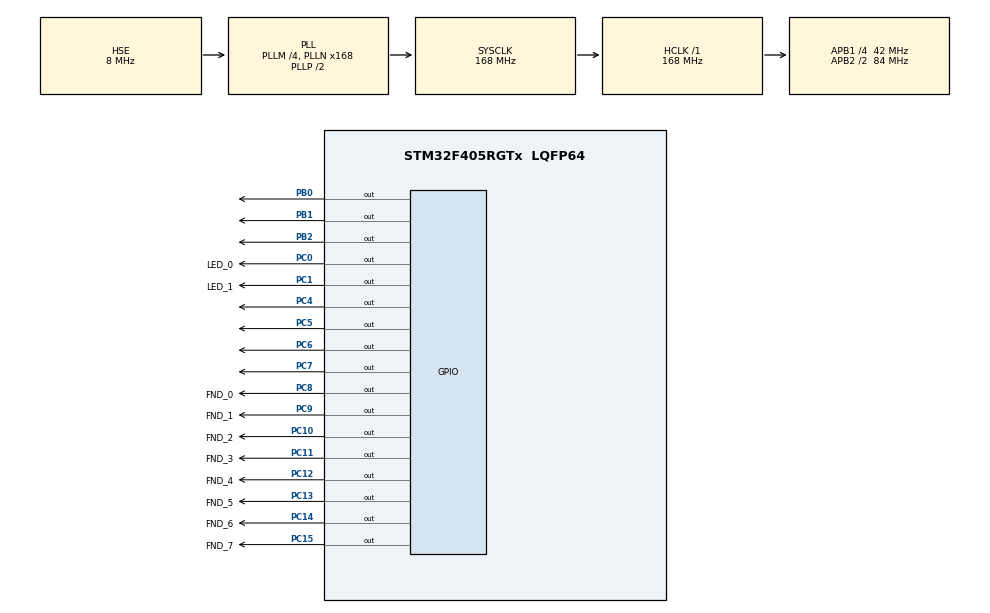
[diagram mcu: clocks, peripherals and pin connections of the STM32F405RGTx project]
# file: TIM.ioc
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Mcu.Family=STM32F4
Mcu.Name=STM32F405RGTx
Mcu.Package=LQFP64
NVIC.PriorityGroup=NVIC_PRIORITYGROUP_4
NVIC.TIM1_BRK_TIM9_IRQn=true\:0\:0\:false\:false\:true\:true\:true
NVIC.TIM1_UP_TIM10_IRQn=true\:0\:0\:false\:false\:true\:true\:true
NVIC.TIM6_DAC_IRQn=true\:0\:0\:false\:false\:true\:true\:true
PA13.Mode=Serial_Wire
PA13.Signal=SYS_JTMS-SWDIO
PA14.Mode=Serial_Wire
PA14.Signal=SYS_JTCK-SWCLK
PB0.Signal=GPIO_Output
PB1.Signal=GPIO_Output
PB2.Signal=GPIO_Output
PC0.GPIO_Label=LED_0
PC0.Signal=GPIO_Output
PC1.GPIO_Label=LED_1
PC1.Signal=GPIO_Output
PC10.GPIO_Label=FND_2
PC10.Signal=GPIO_Output
PC11.GPIO_Label=FND_3
PC11.Signal=GPIO_Output
PC12.GPIO_Label=FND_4
PC12.Signal=GPIO_Output
PC13-ANTI_TAMP.GPIO_Label=FND_5
PC13-ANTI_TAMP.Signal=GPIO_Output
PC14-OSC32_IN.GPIO_Label=FND_6
PC14-OSC32_IN.Signal=GPIO_Output
PC15-OSC32_OUT.GPIO_Label=FND_7
PC15-OSC32_OUT.Signal=GPIO_Output
PC4.Signal=GPIO_Output
PC5.Signal=GPIO_Output
PC6.Signal=GPIO_Output
PC7.Signal=GPIO_Output
PC8.GPIO_Label=FND_0
PC8.Signal=GPIO_Output
PC9.GPIO_Label=FND_1
PC9.Signal=GPIO_Output
PH0-OSC_IN.Mode=HSE-External-Oscillator
PH0-OSC_IN.Signal=RCC_OSC_IN
PH1-OSC_OUT.Mode=HSE-External-Oscillator
PH1-OSC_OUT.Signal=RCC_OSC_OUT
ProjectManager.HeapSize=0x200
ProjectManager.StackSize=0x400
ProjectManager.TargetToolchain=EWARM V8.32
RCC.48MHZClocksFreq_Value=84000000
RCC.AHBFreq_Value=168000000
RCC.APB1CLKDivider=RCC_HCLK_DIV4
RCC.APB1Freq_Value=42000000
RCC.APB1TimFreq_Value=84000000
RCC.APB2CLKDivider=RCC_HCLK_DIV2
RCC.APB2Freq_Value=84000000
RCC.APB2TimFreq_Value=168000000
RCC.CortexFreq_Value=168000000
RCC.HCLKFreq_Value=168000000
RCC.HSE_VALUE=8000000
RCC.HSI_VALUE=16000000
RCC.LSE_VALUE=32768
RCC.PLLM=4
RCC.PLLN=168
RCC.PLLSourceVirtual=RCC_PLLSOURCE_HSE
RCC.SYSCLKFreq_VALUE=168000000
RCC.SYSCLKSource=RCC_SYSCLKSOURCE_PLLCLK
RCC.VCOOutputFreq_Value=336000000
TIM10.Period=10000
TIM10.Prescaler=16800
TIM6.Period=10000
TIM6.Prescaler=8400
TIM9.Period=5000
TIM9.Prescaler=16800
VP_TIM10_VS_ClockSourceINT.Mode=Enable_Timer
VP_TIM6_VS_ClockSourceINT.Mode=Enable_Timer
VP_TIM9_VS_ClockSourceINT.Mode=Internal
board=custom

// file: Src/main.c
/* USER CODE BEGIN Header */
/**
  ******************************************************************************
  * @file           : main.c
  * @brief          : Main program body
  ******************************************************************************
  * @attention
  *
  * <h2><center>&copy; Copyright (c) 2020 STMicroelectronics.
  * All rights reserved.</center></h2>
  *
  * This software component is licensed by ST under BSD 3-Clause license,
  * the "License"; You may not use this file except in compliance with the
  * License. You may obtain a copy of the License at:
  *                        opensource.org/licenses/BSD-3-Clause
  *
  ******************************************************************************
  */
/* USER CODE END Header */

#include "main.h"
#include "tim.h"
#include "gpio.h"

/* USER CODE BEGIN Includes */
#include "lcd.h"
#include <stdio.h>
#include <string.h>
/* USER CODE END Includes */

/* USER CODE BEGIN PD */
#define BUF_MAX 16
/* USER CODE END PD */

/* USER CODE BEGIN PV */
const uint16_t fndChars[] = {0x3F00, 0x0600, 0x5B00, 0x4F00, 0x6600, 0x6D00,
                             0x7C00, 0x0700, 0x7F00, 0x6700, 0x7700, 0x7C00,
                             0x3900, 0x5E00, 0x7900, 0x7100, 0x0800, 0x8000};
const uint16_t fndPins = FND_0_Pin | FND_1_Pin | FND_2_Pin | FND_3_Pin |
                         FND_4_Pin | FND_5_Pin | FND_6_Pin | FND_7_Pin;
uint8_t lcdBuffer[BUF_MAX];
volatile uint16_t fndIndex = 0;
volatile uint16_t timeCount = 0;
/* USER CODE END PV */

void SystemClock_Config(void);
/* USER CODE BEGIN PFP */
void HAL_TIM_PeriodElapsedCallback(TIM_HandleTypeDef *htim);
/* USER CODE END PFP */

int main(void)
{

  /* MCU Configuration--------------------------------------------------------*/

  /* Reset of all peripherals, Initializes the Flash interface and the Systick. */
  HAL_Init();

  /* Configure the system clock */
  SystemClock_Config();

  /* Initialize all configured peripherals */
  MX_GPIO_Init();
  MX_TIM6_Init();
  MX_TIM9_Init();
  MX_TIM10_Init();
  /* USER CODE BEGIN 2 */
    HAL_TIM_Base_Start_IT(&htim6);
    HAL_TIM_Base_Start_IT(&htim9);
    HAL_TIM_Base_Start_IT(&htim10);
  /* USER CODE END 2 */

  /* Infinite loop */
  while (1)
  {

  }
}

void SystemClock_Config(void)
{
  RCC_OscInitTypeDef RCC_OscInitStruct = {0};
  RCC_ClkInitTypeDef RCC_ClkInitStruct = {0};

  /** Configure the main internal regulator output voltage
  */
  __HAL_RCC_PWR_CLK_ENABLE();
  __HAL_PWR_VOLTAGESCALING_CONFIG(PWR_REGULATOR_VOLTAGE_SCALE1);
  /** Initializes the CPU, AHB and APB busses clocks
  */
  RCC_OscInitStruct.OscillatorType = RCC_OSCILLATORTYPE_HSE;
  RCC_OscInitStruct.HSEState = RCC_HSE_ON;
  RCC_OscInitStruct.PLL.PLLState = RCC_PLL_ON;
  RCC_OscInitStruct.PLL.PLLSource = RCC_PLLSOURCE_HSE;
  RCC_OscInitStruct.PLL.PLLM = 4;
  RCC_OscInitStruct.PLL.PLLN = 168;
  RCC_OscInitStruct.PLL.PLLP = RCC_PLLP_DIV2;
  RCC_OscInitStruct.PLL.PLLQ = 4;
  if (HAL_RCC_OscConfig(&RCC_OscInitStruct) != HAL_OK)
  {
    Error_Handler();
  }
  /** Initializes the CPU, AHB and APB busses clocks
  */
  RCC_ClkInitStruct.ClockType = RCC_CLOCKTYPE_HCLK|RCC_CLOCKTYPE_SYSCLK
                              |RCC_CLOCKTYPE_PCLK1|RCC_CLOCKTYPE_PCLK2;
  RCC_ClkInitStruct.SYSCLKSource = RCC_SYSCLKSOURCE_PLLCLK;
  RCC_ClkInitStruct.AHBCLKDivider = RCC_SYSCLK_DIV1;
  RCC_ClkInitStruct.APB1CLKDivider = RCC_HCLK_DIV4;
  RCC_ClkInitStruct.APB2CLKDivider = RCC_HCLK_DIV2;

  if (HAL_RCC_ClockConfig(&RCC_ClkInitStruct, FLASH_LATENCY_5) != HAL_OK)
  {
    Error_Handler();
  }
}

/* USER CODE BEGIN 4 */
void HAL_TIM_PeriodElapsedCallback(TIM_HandleTypeDef *htim)
{
    if(htim->Instance == TIM6)
    {
        HAL_GPIO_WritePin(FND_0_GPIO_Port, fndPins & fndChars[fndIndex], GPIO_PIN_SET);
        HAL_GPIO_WritePin(FND_0_GPIO_Port, fndPins & ~fndChars[fndIndex], GPIO_PIN_RESET);
        fndIndex++;
        if(fndIndex >= 10)
        {
            fndIndex = 0;
        }
        sprintf(lcdBuffer, "On Time %02d:%02d:%02d", timeCount / 3600, timeCount / 60, timeCount % 60);
        lcdGotoXY(0, 0);
        lcdPrintData(lcdBuffer, strlen(lcdBuffer));
        timeCount++;
    }
    else if(htim->Instance == TIM9)
    {
        HAL_GPIO_TogglePin(LED_0_GPIO_Port, LED_0_Pin);
    }
    else if(htim->Instance == TIM10)
    {
        HAL_GPIO_TogglePin(LED_1_GPIO_Port, LED_1_Pin);
    }
}
/* USER CODE END 4 */

void Error_Handler(void)
{
}

/************************ (C) COPYRIGHT STMicroelectronics *****END OF FILE****/
